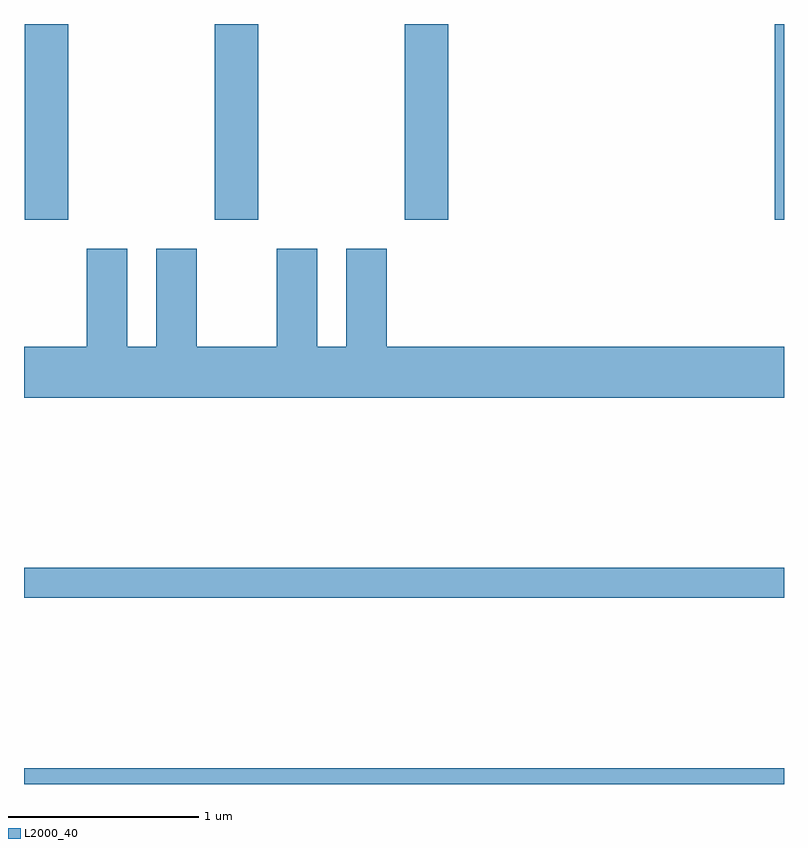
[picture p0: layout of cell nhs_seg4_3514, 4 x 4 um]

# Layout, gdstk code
import gdstk
lib = gdstk.Library(unit=1e-6, precision=1e-09)
def R(c, l, rs):  # rectangles x0, y0, x1, y1
    for r in rs: c.add(gdstk.rectangle(r[:2], r[2:], *l))
def A(c, l, x, y, w, h, nx, ny, dx, dy):  # array of equal rectangles
    R(c, l, [(x+i*dx, y+j*dy, x+i*dx+w, y+j*dy+h) for i in range(nx) for j in range(ny)])
def P(c, l, *ps):  # polygons
    for p in ps: c.add(gdstk.Polygon(p, *l))
L2000_40 = (2000, 40)

nhs_seg4_3514 = lib.new_cell('nhs_seg4_3514')
A(nhs_seg4_3514, L2000_40, 287.616, 1348.951, 0.228, 1.031, 3, 1, 1, 0)
R(nhs_seg4_3514, L2000_40, [(287.611,1345.982,291.611,1346.064), (287.611,1346.961,291.611,1347.119), (291.561,1348.951,291.611,1349.982)])
P(nhs_seg4_3514, L2000_40, [(291.611,1348.284),(289.519,1348.284),(289.519,1348.799),(289.306,1348.799),(289.306,1348.284),(289.154,1348.284),(289.154,1348.799),(288.941,1348.799),(288.941,1348.284),(288.519,1348.284),(288.519,1348.799),(288.306,1348.799),(288.306,1348.284),(288.154,1348.284),(288.154,1348.799),(287.941,1348.799),(287.941,1348.284),(287.611,1348.284),(287.611,1348.016),(291.611,1348.016)])

lib.write_gds('nhs_seg4_3514.gds')
